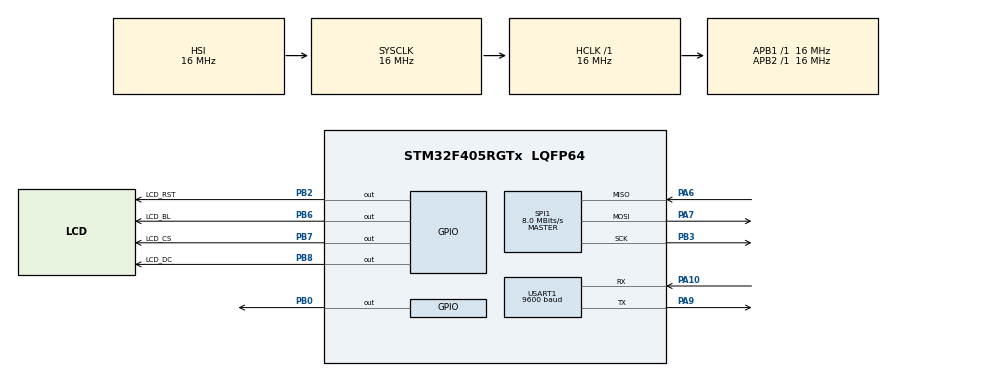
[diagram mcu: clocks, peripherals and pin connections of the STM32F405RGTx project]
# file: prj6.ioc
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Mcu.Family=STM32F4
Mcu.Name=STM32F405RGTx
Mcu.Package=LQFP64
NVIC.PriorityGroup=NVIC_PRIORITYGROUP_4
NVIC.TIM6_DAC_IRQn=true\:15\:0\:false\:false\:true\:false\:true\:true
NVIC.TimeBase=TIM6_DAC_IRQn
NVIC.TimeBaseIP=TIM6
NVIC.USART1_IRQn=true\:6\:0\:true\:false\:true\:true\:true\:true
PA10.Mode=Asynchronous
PA10.Signal=USART1_RX
PA6.Mode=Full_Duplex_Master
PA6.Signal=SPI1_MISO
PA7.Mode=Full_Duplex_Master
PA7.Signal=SPI1_MOSI
PA9.Mode=Asynchronous
PA9.Signal=USART1_TX
PB0.Signal=GPIO_Output
PB2.GPIO_Label=LCD_RST
PB2.Signal=GPIO_Output
PB3.Mode=Full_Duplex_Master
PB3.Signal=SPI1_SCK
PB6.GPIO_Label=LCD_BL
PB6.Signal=GPIO_Output
PB7.GPIO_Label=LCD_CS
PB7.Signal=GPIO_Output
PB8.GPIO_Label=LCD_DC
PB8.Signal=GPIO_Output
ProjectManager.HeapSize=0x200
ProjectManager.StackSize=0x400
ProjectManager.TargetToolchain=STM32CubeIDE
RCC.AHBFreq_Value=16000000
RCC.APB1Freq_Value=16000000
RCC.APB2Freq_Value=16000000
RCC.CortexFreq_Value=16000000
RCC.HSE_VALUE=25000000
RCC.HSI_VALUE=16000000
RCC.LSE_VALUE=32768
RCC.SYSCLKFreq_VALUE=16000000
RCC.VCOOutputFreq_Value=192000000
SPI1.CalculateBaudRate=8.0 MBits/s
SPI1.Direction=SPI_DIRECTION_2LINES
SPI1.Mode=SPI_MODE_MASTER
SPI1.VirtualType=VM_MASTER
USART1.BaudRate=9600
USART1.VirtualMode=VM_ASYNC
VP_SYS_VS_tim6.Mode=TIM6
board=custom

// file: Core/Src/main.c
/* USER CODE BEGIN Header */
/**
  ******************************************************************************
  * @file           : main.c
  * @brief          : Main program body
  ******************************************************************************
  * @attention
  *
  * Copyright (c) 2024 STMicroelectronics.
  * All rights reserved.
  *
  * This software is licensed under terms that can be found in the LICENSE file
  * in the root directory of this software component.
  * If no LICENSE file comes with this software, it is provided AS-IS.
  *
  ******************************************************************************
  */
/* USER CODE END Header */
#include "main.h"

/* USER CODE BEGIN Includes */
#include <stdio.h>
#include "display.h"
#include "FreeRTOS.h"
#include "task.h"
#include <stdio.h>

/* USER CODE END Includes */

/* USER CODE BEGIN PD */
#define UART_RX_BUFFER_SIZE  40

/* USER CODE END PD */

SPI_HandleTypeDef hspi1;

UART_HandleTypeDef huart1;

void SystemClock_Config(void);
static void MX_GPIO_Init(void);
static void MX_USART1_UART_Init(void);
static void MX_SPI1_Init(void);
/* USER CODE BEGIN PFP */
static void LED_Blinking_Task(void *parameters);
static void UART_Receive_Task(void *parameters);
static void LCD_Display_Task(void *parameters);

/* USER CODE END PFP */

/* USER CODE BEGIN 0 */
TaskHandle_t led_handle;
TaskHandle_t uart_handle;
TaskHandle_t lcd_handle;
//uint8_t UART1_rxBuffer[12] = {0};
uint8_t UART1_RxBuffer[UART_RX_BUFFER_SIZE] = {0};
uint16_t RxDataLen = 0;

/* USER CODE END 0 */

int main(void)
{

  /* USER CODE BEGIN 1 */

	BaseType_t status;

  /* USER CODE END 1 */

  /* MCU Configuration--------------------------------------------------------*/

  /* Reset of all peripherals, Initializes the Flash interface and the Systick. */
  HAL_Init();

  /* Configure the system clock */
  SystemClock_Config();

  /* Initialize all configured peripherals */
  MX_GPIO_Init();
  MX_USART1_UART_Init();
  MX_SPI1_Init();
  /* USER CODE BEGIN 2 */

  status = xTaskCreate(LED_Blinking_Task, "LED_Blinking", 200, NULL, 2, &led_handle);
  configASSERT(status == pdPASS);

  status = xTaskCreate(UART_Receive_Task, "UART_Recieving", 200, NULL, 2, &uart_handle);
  configASSERT(status == pdPASS);

  status = xTaskCreate(LCD_Display_Task, "LCD_Updating", 200, NULL, 2, &lcd_handle);
  configASSERT(status == pdPASS);

  //start the freeRTOS scheduler
  vTaskStartScheduler();

  /* USER CODE END 2 */

  /* Infinite loop */
  while (1)
  {

  }
}

void SystemClock_Config(void)
{
  RCC_OscInitTypeDef RCC_OscInitStruct = {0};
  RCC_ClkInitTypeDef RCC_ClkInitStruct = {0};

  /** Configure the main internal regulator output voltage
  */
  __HAL_RCC_PWR_CLK_ENABLE();
  __HAL_PWR_VOLTAGESCALING_CONFIG(PWR_REGULATOR_VOLTAGE_SCALE1);

  /** Initializes the RCC Oscillators according to the specified parameters
  * in the RCC_OscInitTypeDef structure.
  */
  RCC_OscInitStruct.OscillatorType = RCC_OSCILLATORTYPE_HSI;
  RCC_OscInitStruct.HSIState = RCC_HSI_ON;
  RCC_OscInitStruct.HSICalibrationValue = RCC_HSICALIBRATION_DEFAULT;
  RCC_OscInitStruct.PLL.PLLState = RCC_PLL_NONE;
  if (HAL_RCC_OscConfig(&RCC_OscInitStruct) != HAL_OK)
  {
    Error_Handler();
  }

  /** Initializes the CPU, AHB and APB buses clocks
  */
  RCC_ClkInitStruct.ClockType = RCC_CLOCKTYPE_HCLK|RCC_CLOCKTYPE_SYSCLK
                              |RCC_CLOCKTYPE_PCLK1|RCC_CLOCKTYPE_PCLK2;
  RCC_ClkInitStruct.SYSCLKSource = RCC_SYSCLKSOURCE_HSI;
  RCC_ClkInitStruct.AHBCLKDivider = RCC_SYSCLK_DIV1;
  RCC_ClkInitStruct.APB1CLKDivider = RCC_HCLK_DIV1;
  RCC_ClkInitStruct.APB2CLKDivider = RCC_HCLK_DIV1;

  if (HAL_RCC_ClockConfig(&RCC_ClkInitStruct, FLASH_LATENCY_0) != HAL_OK)
  {
    Error_Handler();
  }
}

static void MX_SPI1_Init(void)
{

  /* SPI1 parameter configuration*/
  hspi1.Instance = SPI1;
  hspi1.Init.Mode = SPI_MODE_MASTER;
  hspi1.Init.Direction = SPI_DIRECTION_2LINES;
  hspi1.Init.DataSize = SPI_DATASIZE_8BIT;
  hspi1.Init.CLKPolarity = SPI_POLARITY_LOW;
  hspi1.Init.CLKPhase = SPI_PHASE_1EDGE;
  hspi1.Init.NSS = SPI_NSS_SOFT;
  hspi1.Init.BaudRatePrescaler = SPI_BAUDRATEPRESCALER_2;
  hspi1.Init.FirstBit = SPI_FIRSTBIT_MSB;
  hspi1.Init.TIMode = SPI_TIMODE_DISABLE;
  hspi1.Init.CRCCalculation = SPI_CRCCALCULATION_DISABLE;
  hspi1.Init.CRCPolynomial = 10;
  if (HAL_SPI_Init(&hspi1) != HAL_OK)
  {
    Error_Handler();
  }

}

static void MX_USART1_UART_Init(void)
{

  huart1.Instance = USART1;
  huart1.Init.BaudRate = 9600;
  huart1.Init.WordLength = UART_WORDLENGTH_8B;
  huart1.Init.StopBits = UART_STOPBITS_1;
  huart1.Init.Parity = UART_PARITY_NONE;
  huart1.Init.Mode = UART_MODE_TX_RX;
  huart1.Init.HwFlowCtl = UART_HWCONTROL_NONE;
  huart1.Init.OverSampling = UART_OVERSAMPLING_16;
  if (HAL_UART_Init(&huart1) != HAL_OK)
  {
    Error_Handler();
  }

}

static void MX_GPIO_Init(void)
{
  GPIO_InitTypeDef GPIO_InitStruct = {0};

  /* GPIO Ports Clock Enable */
  __HAL_RCC_GPIOA_CLK_ENABLE();
  __HAL_RCC_GPIOB_CLK_ENABLE();

  /*Configure GPIO pin Output Level */
  HAL_GPIO_WritePin(GPIOB, GPIO_PIN_0|LCD_RST_Pin|LCD_BL_Pin|LCD_CS_Pin
                          |LCD_DC_Pin, GPIO_PIN_RESET);

  /*Configure GPIO pins : PB0 LCD_RST_Pin LCD_BL_Pin LCD_CS_Pin
                           LCD_DC_Pin */
  GPIO_InitStruct.Pin = GPIO_PIN_0|LCD_RST_Pin|LCD_BL_Pin|LCD_CS_Pin
                          |LCD_DC_Pin;
  GPIO_InitStruct.Mode = GPIO_MODE_OUTPUT_PP;
  GPIO_InitStruct.Pull = GPIO_NOPULL;
  GPIO_InitStruct.Speed = GPIO_SPEED_FREQ_LOW;
  HAL_GPIO_Init(GPIOB, &GPIO_InitStruct);

}

/* USER CODE BEGIN 4 */
//void HAL_UART_RxCpltCallback(UART_HandleTypeDef *huart)
//{
//	xTaskNotifyFromISR(lcd_handle, 0,eNoAction, NULL);
//    HAL_UART_Receive_IT(&huart1, UART1_rxBuffer, 12);
//}

void HAL_UARTEx_RxEventCallback(UART_HandleTypeDef *huart, uint16_t Size)
{
    RxDataLen = Size;
    xTaskNotifyFromISR(lcd_handle, 0,eNoAction, NULL);
    HAL_UARTEx_ReceiveToIdle_IT(&huart1, UART1_RxBuffer, UART_RX_BUFFER_SIZE);
}

static void LED_Blinking_Task(void *parameters)
{
	while(1){
		HAL_GPIO_TogglePin(GPIOB, GPIO_PIN_0);
		vTaskDelay(pdMS_TO_TICKS(1000));
	}
}

static void UART_Receive_Task(void *parameters){
	HAL_UARTEx_ReceiveToIdle_IT(&huart1, UART1_RxBuffer, UART_RX_BUFFER_SIZE);
	while(1){

	}
}

static void LCD_Display_Task(void *parameters){
	display_clear();
	display_init();
	BaseType_t status;
	while(1){
		status = xTaskNotifyWait(0,0,NULL,pdMS_TO_TICKS(400));
		if (status == pdTRUE){
			display_clear();
			display_text((char*)UART1_RxBuffer);
		}
	}
}

/* USER CODE END 4 */

void HAL_TIM_PeriodElapsedCallback(TIM_HandleTypeDef *htim)
{
  if (htim->Instance == TIM6) {
    HAL_IncTick();
  }
}

void Error_Handler(void)
{
  __disable_irq();
  while (1)
  {
  }
}
